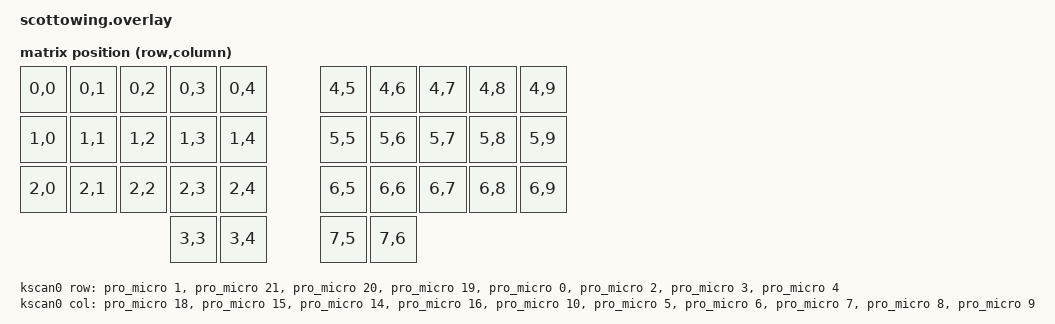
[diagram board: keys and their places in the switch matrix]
#include <dt-bindings/zmk/matrix_transform.h>

/ {
    chosen {
        zmk,kscan = &kscan0;
        zmk,matrix_transform = &default_transform;
    };

    default_transform: keymap_transform_0 {
        compatible = "zmk,matrix-transform";
        columns = <10>;
        rows = <8>;
        map = <
        RC(0,0) RC(0,1) RC(0,2) RC(0,3) RC(0,4)       RC(4,5) RC(4,6) RC(4,7) RC(4,8) RC(4,9)
        RC(1,0) RC(1,1) RC(1,2) RC(1,3) RC(1,4)       RC(5,5) RC(5,6) RC(5,7) RC(5,8) RC(5,9)
        RC(2,0) RC(2,1) RC(2,2) RC(2,3) RC(2,4)       RC(6,5) RC(6,6) RC(6,7) RC(6,8) RC(6,9)
                                RC(3,3) RC(3,4)       RC(7,5) RC(7,6)
        >;
    };

    kscan0: kscan {
        compatible = "zmk,kscan-gpio-matrix";
        label = "KSCAN";

        diode-direction = "col2row";

        col-gpios
            = <&pro_micro 18 GPIO_ACTIVE_HIGH>
            , <&pro_micro 15 GPIO_ACTIVE_HIGH>
            , <&pro_micro 14 GPIO_ACTIVE_HIGH>
            , <&pro_micro 16 GPIO_ACTIVE_HIGH>
            , <&pro_micro 10 GPIO_ACTIVE_HIGH>
            , <&pro_micro 5 GPIO_ACTIVE_HIGH>
            , <&pro_micro 6 GPIO_ACTIVE_HIGH>
            , <&pro_micro 7 GPIO_ACTIVE_HIGH>
            , <&pro_micro 8 GPIO_ACTIVE_HIGH>
            , <&pro_micro 9 GPIO_ACTIVE_HIGH>
            ;

        row-gpios
            = <&pro_micro 1 (GPIO_ACTIVE_HIGH | GPIO_PULL_DOWN)>
            , <&pro_micro 21 (GPIO_ACTIVE_HIGH | GPIO_PULL_DOWN)>
            , <&pro_micro 20 (GPIO_ACTIVE_HIGH | GPIO_PULL_DOWN)>
            , <&pro_micro 19 (GPIO_ACTIVE_HIGH | GPIO_PULL_DOWN)>
            , <&pro_micro 0 (GPIO_ACTIVE_HIGH | GPIO_PULL_DOWN)>
            , <&pro_micro 2 (GPIO_ACTIVE_HIGH | GPIO_PULL_DOWN)>
            , <&pro_micro 3 (GPIO_ACTIVE_HIGH | GPIO_PULL_DOWN)>
            , <&pro_micro 4 (GPIO_ACTIVE_HIGH | GPIO_PULL_DOWN)>
            ;

    };
};
